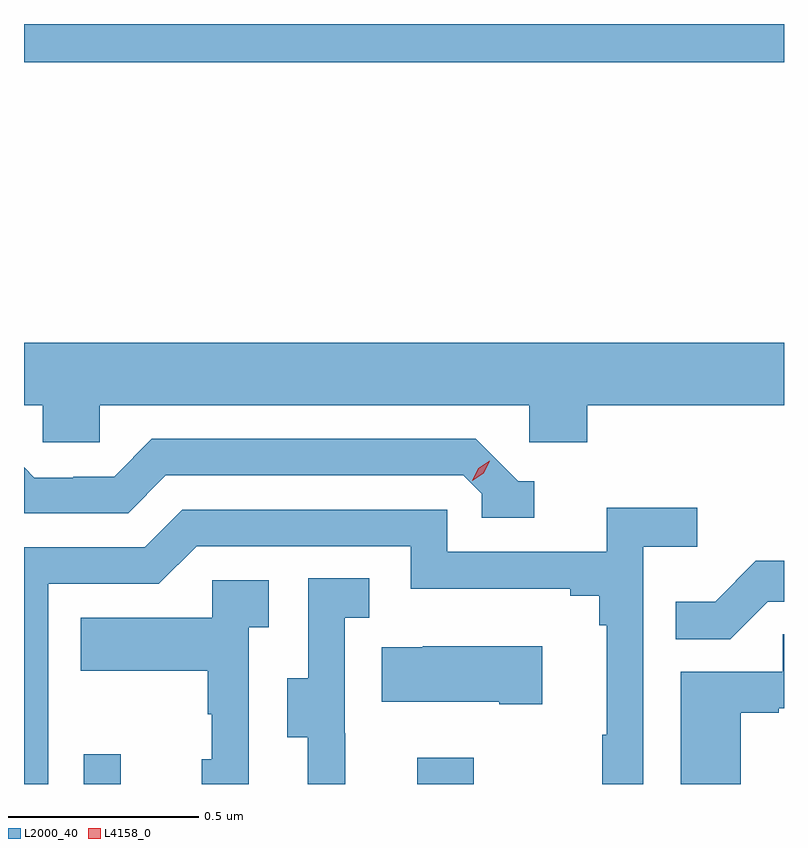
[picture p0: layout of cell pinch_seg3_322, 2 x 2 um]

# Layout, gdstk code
import gdstk
lib = gdstk.Library(unit=1e-6, precision=1e-09)
def R(c, l, rs):  # rectangles x0, y0, x1, y1
    for r in rs: c.add(gdstk.rectangle(r[:2], r[2:], *l))
def P(c, l, *ps):  # polygons
    for p in ps: c.add(gdstk.Polygon(p, *l))
L2000_40 = (2000, 40)
L4158_0 = (4158, 0)

pinch_seg3_322 = lib.new_cell('pinch_seg3_322')
R(pinch_seg3_322, L2000_40, [(996.051,715.903,996.149,715.981), (996.929,715.903,997.077,715.972), (995.894,717.802,997.894,717.903)])
P(pinch_seg3_322, L2000_40, [(996.093,716.9),(997.224,716.9),(997.224,716.802),(997.376,716.802),(997.376,716.9),(997.894,716.9),(997.894,717.064),(995.894,717.064),(995.894,716.9),(995.943,716.9),(995.943,716.802),(996.093,716.802)],
  [(997.237,716.7),(997.194,716.7),(997.083,716.811),(996.23,716.811),(996.131,716.712),(996.024,716.712),(996.024,716.709),(995.921,716.709),(995.894,716.737),(995.894,716.616),(996.168,716.616),(996.267,716.715),(997.05,716.715),(997.098,716.667),(997.098,716.604),(997.237,716.604)],
  [(995.958,716.43),(996.249,716.43),(996.348,716.529),(996.912,716.529),(996.912,716.417),(997.331,716.417),(997.331,716.398),(997.408,716.398),(997.408,716.321),(997.427,716.321),(997.427,716.033),(997.416,716.033),(997.416,715.903),(997.524,715.903),(997.524,716.528),(997.666,716.528),(997.666,716.63),(997.427,716.63),(997.427,716.514),(997.008,716.514),(997.008,716.625),(996.311,716.625),(996.212,716.526),(995.894,716.526),(995.894,715.903),(995.958,715.903)],
  [(997.851,716.382),(997.894,716.382),(997.894,716.49),(997.82,716.49),(997.713,716.383),(997.609,716.383),(997.609,716.284),(997.753,716.284)],
  [(996.74,716.037),(996.738,716.037),(996.738,716.341),(996.802,716.341),(996.802,716.444),(996.642,716.444),(996.642,716.181),(996.587,716.181),(996.587,716.026),(996.641,716.026),(996.641,715.903),(996.74,715.903)],
  [(996.486,716.315),(996.538,716.315),(996.538,716.439),(996.39,716.439),(996.39,716.341),(996.043,716.341),(996.043,716.201),(996.378,716.201),(996.378,716.087),(996.388,716.087),(996.388,715.968),(996.362,715.968),(996.362,715.903),(996.486,715.903)],
  [(997.78,716.091),(997.88,716.091),(997.88,716.103),(997.894,716.103),(997.894,716.297),(997.891,716.297),(997.891,716.199),(997.622,716.199),(997.622,715.903),(997.78,715.903)],
  [(997.258,716.266),(996.943,716.266),(996.943,716.263),(996.835,716.263),(996.835,716.12),(997.145,716.12),(997.145,716.113),(997.258,716.113)])
P(pinch_seg3_322, L4158_0, [(997.073,716.701),(997.073,716.702),(997.089,716.734),(997.12,716.754),(997.12,716.754),(997.12,716.754),(997.104,716.721),(997.074,716.701)])

lib.write_gds('pinch_seg3_322.gds')
